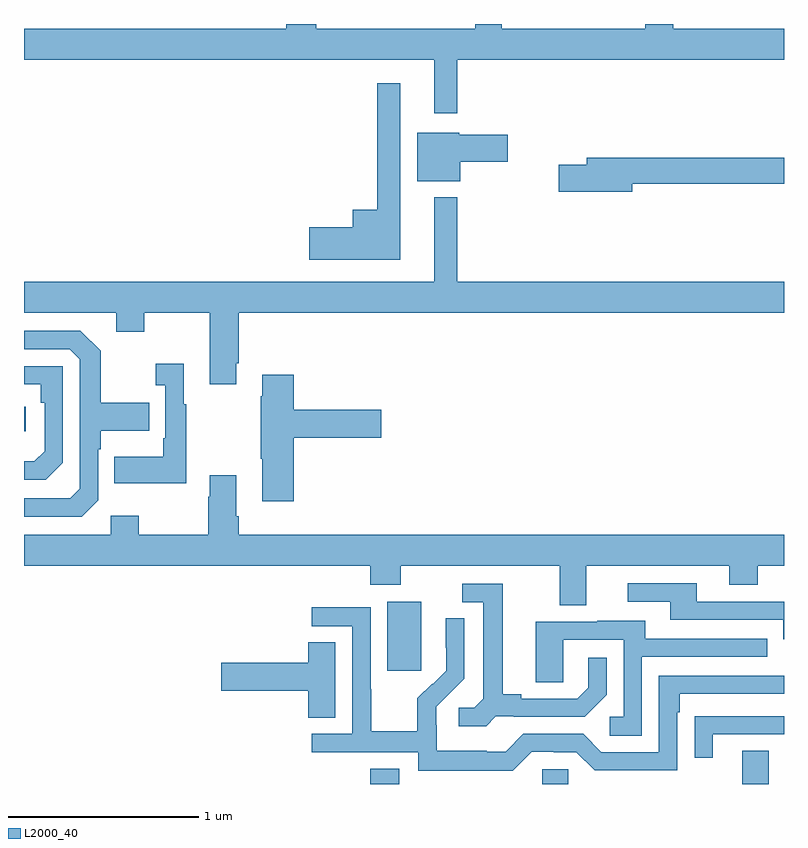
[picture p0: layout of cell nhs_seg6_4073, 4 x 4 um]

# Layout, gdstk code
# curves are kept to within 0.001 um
import gdstk
lib = gdstk.Library(unit=1e-6, precision=1e-09)
def R(c, l, rs):  # rectangles x0, y0, x1, y1
    for r in rs: c.add(gdstk.rectangle(r[:2], r[2:], *l))
def P(c, l, *ps):  # polygons
    for p in ps: c.add(gdstk.Polygon(p, *l))
L2000_40 = (2000, 40)

nhs_seg6_4073 = lib.new_cell('nhs_seg6_4073')
R(nhs_seg6_4073, L2000_40, [(352.823,967.5,352.975,967.579), (353.727,967.5,353.865,967.578), (354.779,967.5,354.919,967.675), (352.913,968.097,353.092,968.458), (351,969.356,351.01,969.486)])
P(nhs_seg6_4073, L2000_40, [(353.281,971.312),(355,971.312),(355,971.476),(354.417,971.476),(354.417,971.5),(354.269,971.5),(354.269,971.476),(353.515,971.476),(353.515,971.5),(353.375,971.5),(353.375,971.476),(352.539,971.476),(352.539,971.5),(352.379,971.5),(352.379,971.476),(351,971.476),(351,971.312),(353.159,971.312),(353.159,971.031),(353.281,971.031)],
  [(352.981,971.188),(352.86,971.188),(352.86,970.522),(352.73,970.522),(352.73,970.43),(352.5,970.43),(352.5,970.259),(352.981,970.259)],
  [(353.296,970.775),(353.545,970.775),(353.545,970.917),(353.292,970.917),(353.292,970.927),(353.069,970.927),(353.069,970.673),(353.296,970.673)],
  [(354.202,970.66),(355,970.66),(355,970.796),(353.963,970.796),(353.963,970.76),(353.814,970.76),(353.814,970.618),(354.202,970.618)],
  [(352.117,969.715),(352.13,969.715),(352.13,969.98),(355,969.98),(355,970.144),(353.281,970.144),(353.281,970.588),(353.159,970.588),(353.159,970.144),(351,970.144),(351,969.98),(351.485,969.98),(351.485,969.881),(351.633,969.881),(351.633,969.98),(351.977,969.98),(351.977,969.603),(352.117,969.603)],
  [(351.39,968.994),(351.39,969.263),(351.403,969.263),(351.403,969.359),(351.659,969.359),(351.659,969.507),(351.403,969.507),(351.403,969.779),(351.297,969.885),(351,969.885),(351,969.789),(351.24,969.789),(351.294,969.735),(351.294,969.054),(351.243,969.003),(351,969.003),(351,968.907),(351.303,968.907)],
  [(351.853,969.499),(351.841,969.499),(351.841,969.712),(351.693,969.712),(351.693,969.599),(351.744,969.599),(351.744,969.319),(351.732,969.319),(351.732,969.223),(351.475,969.223),(351.475,969.083),(351.853,969.083)],
  [(351.204,969.192),(351.204,969.699),(351,969.699),(351,969.603),(351.088,969.603),(351.088,969.506),(351.108,969.506),(351.108,969.252),(351.055,969.199),(351,969.199),(351,969.102),(351.114,969.102)],
  [(352.421,969.323),(352.879,969.323),(352.879,969.47),(352.421,969.47),(352.421,969.655),(352.253,969.655),(352.253,969.542),(352.246,969.542),(352.246,969.211),(352.253,969.211),(352.253,968.988),(352.421,968.988)],
  [(353.959,968.648),(354.713,968.648),(354.713,968.549),(354.861,968.549),(354.861,968.648),(355,968.648),(355,968.812),(352.13,968.812),(352.13,968.908),(352.117,968.908),(352.117,969.124),(351.977,969.124),(351.977,969.011),(351.97,969.011),(351.97,968.812),(351.603,968.812),(351.603,968.911),(351.456,968.911),(351.456,968.812),(351,968.812),(351,968.648),(352.823,968.648),(352.823,968.549),(352.983,968.549),(352.983,968.648),(353.819,968.648),(353.819,968.44),(353.959,968.44)],
  [(355,968.46),(354.541,968.46),(354.541,968.556),(354.177,968.556),(354.177,968.46),(354.401,968.46),(354.401,968.364),(354.996,968.364),(354.996,968.261),(355,968.261)],
  [(353.484,967.857),(353.578,967.857),(353.578,967.854),(353.95,967.854),(354.066,967.97),(354.066,968.164),(353.969,968.164),(353.969,968.007),(353.912,967.95),(353.617,967.95),(353.617,967.973),(353.521,967.973),(353.521,968.553),(353.307,968.553),(353.307,968.457),(353.417,968.457),(353.417,967.949),(353.37,967.902),(353.289,967.902),(353.289,967.805),(353.432,967.805)],
  [(353.673,967.671),(353.789,967.671),(353.789,967.668),(353.907,967.668),(354.003,967.572),(354.438,967.572),(354.438,967.877),(354.451,967.877),(354.451,967.974),(355,967.974),(355,968.07),(354.342,968.07),(354.342,967.668),(354.039,967.668),(353.943,967.764),(353.628,967.764),(353.535,967.671),(353.435,967.671),(353.435,967.675),(353.172,967.675),(353.172,967.809),(353.17,967.809),(353.17,967.906),(353.316,968.054),(353.316,968.372),(353.22,968.372),(353.22,968.218),(353.222,968.218),(353.222,968.096),(353.151,968.025),(353.148,968.028),(353.071,967.951),(353.071,967.777),(352.827,967.777),(352.827,968),(352.824,968),(352.824,968.43),(352.515,968.43),(352.515,968.331),(352.728,968.331),(352.728,967.764),(352.515,967.764),(352.515,967.668),(353.076,967.668),(353.076,967.571),(353.573,967.571)],
  [(354.252,968.169),(354.911,968.169),(354.911,968.265),(354.271,968.265),(354.271,968.359),(354.017,968.359),(354.017,968.355),(353.693,968.355),(353.693,968.035),(353.838,968.035),(353.838,968.259),(354.156,968.259),(354.156,967.854),(354.084,967.854),(354.084,967.753),(354.252,967.753)],
  [(352.639,968.246),(352.496,968.246),(352.496,968.138),(352.038,968.138),(352.038,967.991),(352.496,967.991),(352.496,967.849),(352.639,967.849)],
  [(354.625,967.761),(355,967.761),(355,967.857),(354.631,967.857),(354.631,967.856),(354.529,967.856),(354.529,967.638),(354.625,967.638)])

lib.write_gds('nhs_seg6_4073.gds')
